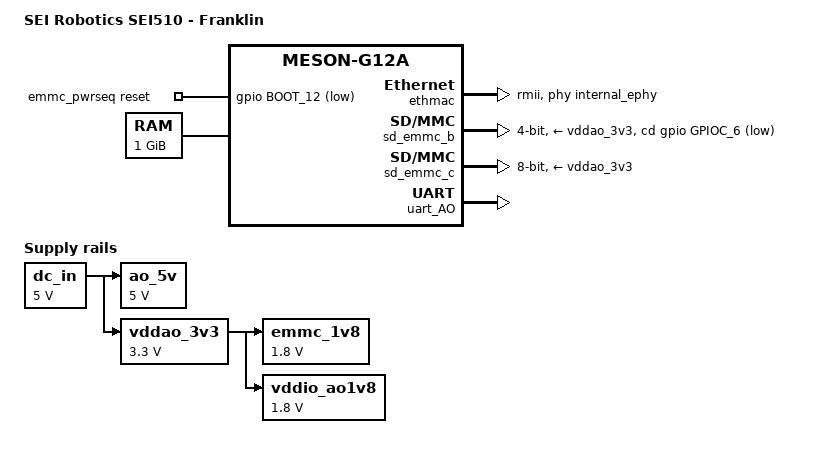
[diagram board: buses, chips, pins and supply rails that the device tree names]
// SPDX-License-Identifier: (GPL-2.0+ OR MIT)
/*
 * Copyright (c) 2019 BayLibre SAS. All rights reserved.
 */

/dts-v1/;

#include "meson-g12a.dtsi"

/ {
	compatible = "seirobotics,sei510", "amlogic,g12a";
	model = "SEI Robotics SEI510 - Franklin";

	aliases {
		serial0 = &uart_AO;
		ethernet0 = &ethmac;
	};

	ao_5v: regulator-ao_5v {
		compatible = "regulator-fixed";
		regulator-name = "AO_5V";
		regulator-min-microvolt = <5000000>;
		regulator-max-microvolt = <5000000>;
		vin-supply = <&dc_in>;
		regulator-always-on;
	};

	chosen {
		stdout-path = "serial0:115200n8";
	};

	dc_in: regulator-dc_in {
		compatible = "regulator-fixed";
		regulator-name = "DC_IN";
		regulator-min-microvolt = <5000000>;
		regulator-max-microvolt = <5000000>;
		regulator-always-on;
	};

	emmc_1v8: regulator-emmc_1v8 {
		compatible = "regulator-fixed";
		regulator-name = "EMMC_1V8";
		regulator-min-microvolt = <1800000>;
		regulator-max-microvolt = <1800000>;
		vin-supply = <&vddao_3v3>;
		regulator-always-on;
	};

	emmc_pwrseq: emmc-pwrseq {
		compatible = "mmc-pwrseq-emmc";
		reset-gpios = <&gpio BOOT_12 GPIO_ACTIVE_LOW>;
	};

	memory@0 {
		device_type = "memory";
		reg = <0x0 0x0 0x0 0x40000000>;
	};

	reserved-memory {
		/* TEE Reserved Memory */
		bl32_reserved: bl32@5000000 {
			reg = <0x0 0x05300000 0x0 0x2000000>;
			no-map;
		};
	};

	vddao_3v3: regulator-vddao_3v3 {
		compatible = "regulator-fixed";
		regulator-name = "VDDAO_3V3";
		regulator-min-microvolt = <3300000>;
		regulator-max-microvolt = <3300000>;
		vin-supply = <&dc_in>;
		regulator-always-on;
	};

	vddio_ao1v8: regulator-vddio_ao1v8 {
		compatible = "regulator-fixed";
		regulator-name = "VDDIO_AO1V8";
		regulator-min-microvolt = <1800000>;
		regulator-max-microvolt = <1800000>;
		vin-supply = <&vddao_3v3>;
		regulator-always-on;
	};

};

&ethmac {
	status = "okay";
	pinctrl-0 = <&eth_leds_pins>;
	pinctrl-names = "default";
	phy-handle = <&internal_ephy>;
	phy-mode = "rmii";
};

/* SD card */
&sd_emmc_b {
	status = "okay";
	pinctrl-0 = <&sdcard_c_pins>;
	pinctrl-1 = <&sdcard_clk_gate_c_pins>;
	pinctrl-names = "default", "clk-gate";

	bus-width = <4>;
	cap-sd-highspeed;
	max-frequency = <50000000>;
	disable-wp;

	cd-gpios = <&gpio GPIOC_6 GPIO_ACTIVE_LOW>;
	vmmc-supply = <&vddao_3v3>;
	vqmmc-supply = <&vddao_3v3>;
};

/* eMMC */
&sd_emmc_c {
	status = "okay";
	pinctrl-0 = <&emmc_pins>, <&emmc_ds_pins>;
	pinctrl-1 = <&emmc_clk_gate_pins>;
	pinctrl-names = "default", "clk-gate";

	bus-width = <8>;
	cap-mmc-highspeed;
	mmc-ddr-1_8v;
	/* FIXME : enable HS200 when stable */
	max-frequency = <200000000>;
	disable-wp;

	mmc-pwrseq = <&emmc_pwrseq>;
	vmmc-supply = <&vddao_3v3>;
	vqmmc-supply = <&emmc_1v8>;
};

&uart_AO {
	status = "okay";
	pinctrl-0 = <&uart_ao_a_pins>;
	pinctrl-names = "default";
};
